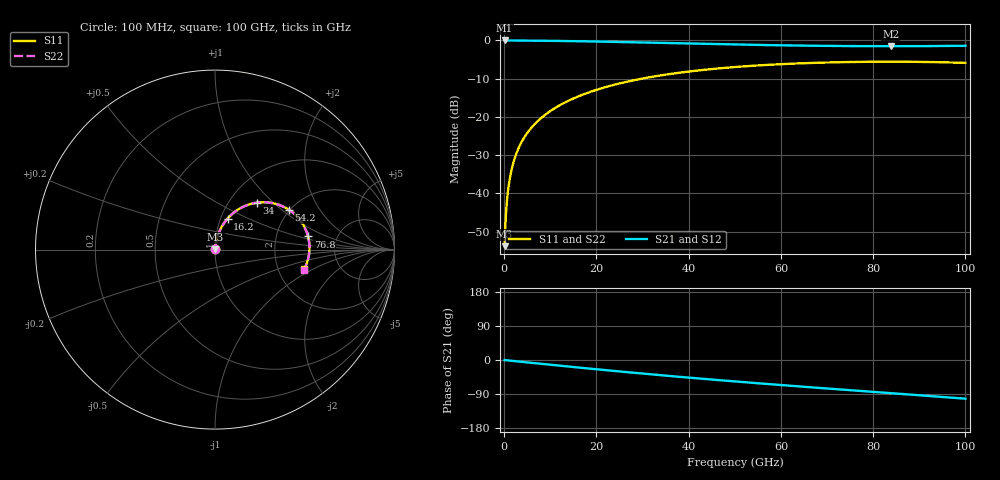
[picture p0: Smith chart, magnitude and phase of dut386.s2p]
! Touchstone file exported from HFSS 2026.1.0
!  File:  C:/ffzhzh/LocalFiles/Ansys_Project_Files/temp_train_RDL_386_1783503806_44152.aedt
!  Generated:  05:44:44 PM Jul  8, 2026
!  Design:  RDL
!  Project:  temp_train_RDL_386_1783503806_44152
! Variables:
!  h_bsmrdl = 2um
!  h_ox = 20um
!  h_rdl = 5um
!  h_sub = 80um
!  h_tmrdl = 4.86um
!  h_tsv = 80um
!  h_via = 3um
!  l_bsmrdl = 300um
!  l_sub = 745.15um
!  l_tmrdl = 345.15um
!  m_sub = 200um
!  pitch = 41.09um
!  r_tsv = 6um
!  s_tmrdl = 10um
!  w_bsmrdl = 18um
!  w_sub = 500um
!  w_tmrdl = 18.23um
!  x_tsv_center1 = 354.265um
!  x_tsv_center2 = 672.265um
!  x_tsv_center3 = 1035.645um
!  x_tsv_center4 = 1353.645um
!  x_tsv_center5 = 1717.025um
!  x_tsv_center6 = 2035.025um
# GHz S MA R 50.000000
! Terminal data exported
! Port[1] = TM_RDL1_1_T1
! Port[2] = TM_RDL1_1_T2
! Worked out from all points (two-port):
!   1000 points, 100 MHz to 100 GHz, reference 50 ohm
!   highest |S21| = -0.01 dB at 100 MHz (marker M1); lowest = -1.5 dB at 83.8 GHz (marker M2)
!   |S21| within 3 dB of the highest: start of sweep to end of sweep
!   lowest |S11| = -53.8 dB at 100 MHz (marker M3), VSWR 1.00, Z = 50.2 + j0.137 ohm
!   |S11| at or under -10 dB: start of sweep to 29.86 GHz
!   |S22| runs from -53.8 to -5.6 dB; largest |S21 - S12| = 4e-15
!   S11 on the Smith chart (normalised r, x): 100 MHz: 1.00, +0.00; 16.2 GHz: 1.08, +0.39; 34 GHz: 1.33, +0.79; 54.2 GHz: 1.97, +1.12; 76.8 GHz: 3.06, +0.62; 100 GHz: 2.80, -0.82
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0.1  0.002045 42.0  0.9985 -0.1  0.9985 -0.1  0.002045 42.0
! Gamma 0 0 0 0
! Port Impedance 50 0 50 0
0.8  0.01036 78.6  0.9981 -1.0  0.9981 -1.0  0.01036 78.6
1.1  0.01406 80.7  0.998 -1.4  0.998 -1.4  0.01406 80.7
1.4  0.01778 81.6  0.9978 -1.8  0.9978 -1.8  0.01778 81.6
1.9  0.02398 82.3  0.9975 -2.4  0.9975 -2.4  0.02398 82.3
2.4  0.03014 82.3  0.9971 -3.1  0.9971 -3.1  0.03014 82.3
3.8  0.04717 81.4  0.9958 -4.8  0.9958 -4.8  0.04717 81.4
5.9  0.0721 79.3  0.9934 -7.5  0.9934 -7.5  0.0721 79.3
8.6  0.1033 76.4  0.9896 -10.8  0.9896 -10.8  0.1033 76.4
12  0.1415 72.7  0.984 -14.9  0.984 -14.9  0.1415 72.6
16.2  0.1868 67.9  0.9755 -20.0  0.9755 -20.0  0.1868 67.9
16.8  0.1931 67.3  0.9742 -20.7  0.9742 -20.7  0.1931 67.2
24.2  0.2663 59.0  0.9558 -29.3  0.9558 -29.3  0.2663 58.9
33.4  0.3446 49.1  0.9297 -39.5  0.9297 -39.5  0.3447 49.0
34  0.3492 48.4  0.928 -40.2  0.928 -40.2  0.3493 48.4
50.1  0.449 32.3  0.8838 -56.6  0.8838 -56.6  0.4491 32.2
54.2  0.4675 28.4  0.8743 -60.6  0.8743 -60.6  0.4675 28.3
66.7  0.5077 17.0  0.8518 -72.2  0.8518 -72.2  0.5077 16.8
76.8  0.5238 8.0  0.8421 -81.3  0.8421 -81.3  0.5239 7.9
83.4  0.5268 2.3  0.8401 -87.2  0.8401 -87.2  0.5269 2.1
83.8  0.5268 1.9  0.8401 -87.5  0.8401 -87.5  0.5269 1.7
100  0.5085 -12.3  0.8505 -102.1  0.8505 -102.1  0.5087 -12.6
